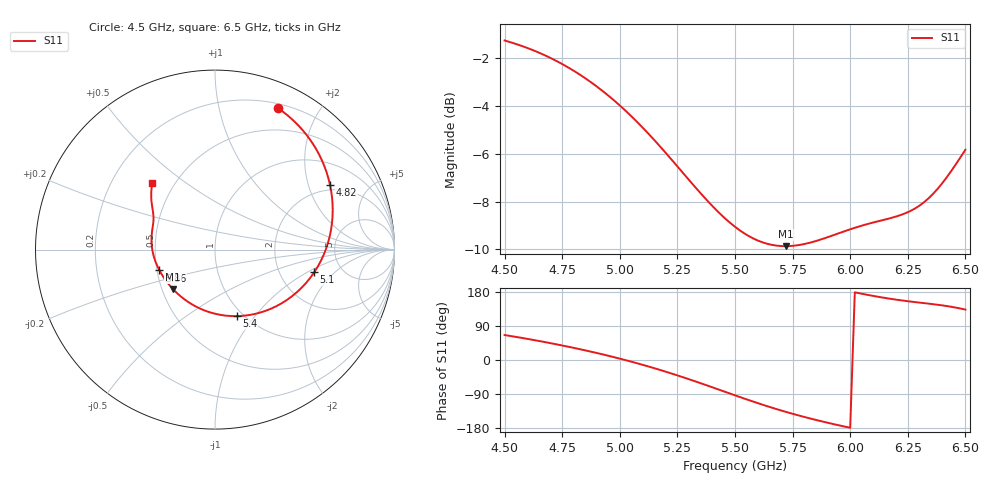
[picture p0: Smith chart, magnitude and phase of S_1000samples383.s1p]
! TOUCHSTONE file generated by CST MICROWAVE STUDIO
! Date and time: Thu Oct 27 23:41:02 2022
! Project name: L.cst
! Parameters = {Di=1.27; Epsilon_r=1.56; InnerDiameter=1.27; Length=2; Lf=10; Lg=60; OuterConductorThickness=0.2921; OuterDiameter=3.6; Wf=3; Wp=41.2; de=1.5; df=6.8; g=0.8; gx=1.35485; gy=1.54705; h=2.34; hf=1.524; px=10.4071; py=11.3356; w=9.7; wx=9.05226; wy=9.78852}
! Header version: 2018
! Port assignment regex: !\s*Touchstone port\s*([0-9]+)\s*=\s*(CST MWS port|CST DS port)\s*([0-9]+|Zmin|Zmax)\s*\(\"(.*)\"\)(\s*mode\s*([0-9]+))?.*
! Touchstone port assignment:
! Touchstone port 1 = CST MWS port 1 ("")
# GHz S DB R 50
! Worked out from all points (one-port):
!   101 points, 4.5 GHz to 6.5 GHz, reference 50 ohm
!   lowest |S11| = -9.9 dB at 5.72 GHz (marker M1), VSWR 1.95, Z = 28.5 - j14 ohm
!   |S11| at or under -10 dB: nowhere
!   S11 on the Smith chart (normalised r, x): 4.5 GHz: 0.25, +1.52; 4.82 GHz: 1.77, +2.78; 5.1 GHz: 3.14, -1.17; 5.4 GHz: 0.93, -0.82; 5.86 GHz: 0.52, -0.13; 6.5 GHz: 0.38, +0.38
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4.5  -1.28 65.8
4.56  -1.47 59.8
4.62  -1.68 53.4
4.7  -2.02 44.3
4.76  -2.32 37.1
4.82  -2.67 29.4
4.88  -3.06 21.3
4.92  -3.35 15.6
5  -4.00 3.6
5.04  -4.35 -2.8
5.1  -4.93 -12.9
5.18  -5.76 -27.2
5.26  -6.65 -42.6
5.32  -7.32 -54.8
5.4  -8.17 -71.7
5.44  -8.55 -80.3
5.5  -9.05 -93.2
5.6  -9.63 -114.0
5.72  -9.86 -136.7
5.76  -9.84 -143.6
5.86  -9.62 -159.4
6  -9.16 -178.9
6.14  -8.78 164.9
6.26  -8.40 154.4
6.34  -7.87 148.7
6.4  -7.23 144.1
6.46  -6.43 138.1
6.5  -5.84 133.1
